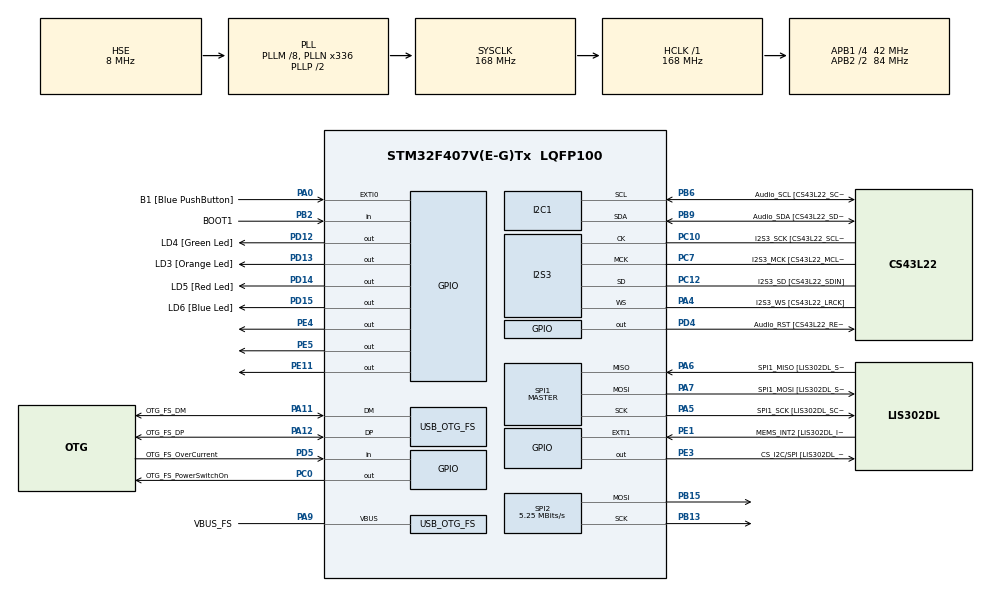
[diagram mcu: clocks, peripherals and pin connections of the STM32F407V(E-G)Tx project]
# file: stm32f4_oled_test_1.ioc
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I2S3.AudioFreq-Half_Duplex_Master=I2S_AUDIOFREQ_96K
I2S3.ErrorAudioFreq=-2.34 %
I2S3.ErrorAudioFreq-Half_Duplex_Master=0.8 %
I2S3.FullDuplexMode=I2S_FULLDUPLEXMODE_DISABLE
I2S3.Instance=SPI$Index
I2S3.RealAudioFreq=93.75 KHz
I2S3.RealAudioFreq-Half_Duplex_Master=96.774 KHz
I2S3.VirtualMode=I2S_MODE_MASTER
Mcu.Family=STM32F4
Mcu.Name=STM32F407V(E-G)Tx
Mcu.Package=LQFP100
NVIC.OTG_FS_IRQn=true\:0\:0\:false\:false\:true\:true\:true
NVIC.PriorityGroup=NVIC_PRIORITYGROUP_0
PA0-WKUP.GPIO_Label=B1 [Blue PushButton]
PA0-WKUP.GPIO_ModeDefaultEXTI=GPIO_MODE_EVT_RISING
PA0-WKUP.GPIO_PuPd=GPIO_NOPULL
PA0-WKUP.Signal=GPXTI0
PA10.GPIO_Label=OTG_FS_ID
PA10.GPIO_Mode=GPIO_MODE_AF_PP
PA10.GPIO_PuPd=GPIO_NOPULL
PA10.GPIO_Speed=GPIO_SPEED_FREQ_LOW
PA10.Signal=USB_OTG_FS_ID
PA11.GPIO_Label=OTG_FS_DM
PA11.GPIO_Mode=GPIO_MODE_AF_PP
PA11.GPIO_PuPd=GPIO_NOPULL
PA11.GPIO_Speed=GPIO_SPEED_FREQ_LOW
PA11.Mode=Host_Only
PA11.Signal=USB_OTG_FS_DM
PA12.GPIO_Label=OTG_FS_DP
PA12.GPIO_Mode=GPIO_MODE_AF_PP
PA12.GPIO_PuPd=GPIO_NOPULL
PA12.GPIO_Speed=GPIO_SPEED_FREQ_LOW
PA12.Mode=Host_Only
PA12.Signal=USB_OTG_FS_DP
PA13.GPIO_Label=SWDIO
PA13.Mode=Serial_Wire
PA13.Signal=SYS_JTMS-SWDIO
PA14.GPIO_Label=SWCLK
PA14.Mode=Serial_Wire
PA14.Signal=SYS_JTCK-SWCLK
PA4.GPIO_Label=I2S3_WS [CS43L22_LRCK]
PA4.GPIO_Mode=GPIO_MODE_AF_PP
PA4.GPIO_PuPd=GPIO_NOPULL
PA4.GPIO_Speed=GPIO_SPEED_FREQ_LOW
PA4.Mode=Half_Duplex_Master
PA4.Signal=I2S3_WS
PA5.GPIO_Label=SPI1_SCK [LIS302DL_SCL/SPC]
PA5.GPIO_Mode=GPIO_MODE_AF_PP
PA5.GPIO_PuPd=GPIO_NOPULL
PA5.GPIO_Speed=GPIO_SPEED_FREQ_LOW
PA5.Mode=Full_Duplex_Master
PA5.Signal=SPI1_SCK
PA6.GPIO_Label=SPI1_MISO [LIS302DL_SDO]
PA6.GPIO_Mode=GPIO_MODE_AF_PP
PA6.GPIO_PuPd=GPIO_NOPULL
PA6.GPIO_Speed=GPIO_SPEED_FREQ_LOW
PA6.Mode=Full_Duplex_Master
PA6.Signal=SPI1_MISO
PA7.GPIO_Label=SPI1_MOSI [LIS302DL_SDA/SDI/SDO]
PA7.GPIO_Mode=GPIO_MODE_AF_PP
PA7.GPIO_PuPd=GPIO_NOPULL
PA7.GPIO_Speed=GPIO_SPEED_FREQ_LOW
PA7.Mode=Full_Duplex_Master
PA7.Signal=SPI1_MOSI
PA9.GPIO_Label=VBUS_FS
PA9.GPIO_Mode=GPIO_MODE_INPUT
PA9.GPIO_PuPd=GPIO_NOPULL
PA9.Mode=Activate_VBUS
PA9.Signal=USB_OTG_FS_VBUS
PB10.GPIO_Label=CLK_IN [MP45DT02_CLK]
PB10.GPIO_Mode=GPIO_MODE_AF_PP
PB10.GPIO_PuPd=GPIO_NOPULL
PB10.GPIO_Speed=GPIO_SPEED_FREQ_LOW
PB10.Signal=I2S2_CK
PB13.Mode=TX_Only_Simplex_Unidirect_Master
PB13.Signal=SPI2_SCK
PB15.Mode=TX_Only_Simplex_Unidirect_Master
PB15.Signal=SPI2_MOSI
PB2.GPIO_Label=BOOT1
PB2.GPIO_Mode=GPIO_MODE_INPUT
PB2.GPIO_PuPd=GPIO_NOPULL
PB2.Signal=GPIO_Input
PB3.GPIO_Label=SWO
PB3.Signal=SYS_JTDO-SWO
PB6.GPIO_Label=Audio_SCL [CS43L22_SCL]
PB6.GPIO_Mode=GPIO_MODE_AF_OD
PB6.GPIO_PuPd=GPIO_NOPULL
PB6.GPIO_Speed=GPIO_SPEED_FREQ_LOW
PB6.Mode=I2C
PB6.Signal=I2C1_SCL
PB9.GPIO_Label=Audio_SDA [CS43L22_SDA]
PB9.GPIO_Mode=GPIO_MODE_AF_OD
PB9.GPIO_PuPd=GPIO_NOPULL
PB9.GPIO_Speed=GPIO_SPEED_FREQ_LOW
PB9.Mode=I2C
PB9.Signal=I2C1_SDA
PC0.GPIO_Label=OTG_FS_PowerSwitchOn
PC0.GPIO_PuPd=GPIO_NOPULL
PC0.GPIO_Speed=GPIO_SPEED_FREQ_LOW
PC0.PinState=GPIO_PIN_SET
PC0.Signal=GPIO_Output
PC10.GPIO_Label=I2S3_SCK [CS43L22_SCLK]
PC10.GPIO_Mode=GPIO_MODE_AF_PP
PC10.GPIO_PuPd=GPIO_NOPULL
PC10.GPIO_Speed=GPIO_SPEED_FREQ_LOW
PC10.Mode=Half_Duplex_Master
PC10.Signal=I2S3_CK
PC12.GPIO_Label=I2S3_SD [CS43L22_SDIN]
PC12.GPIO_Mode=GPIO_MODE_AF_PP
PC12.GPIO_PuPd=GPIO_NOPULL
PC12.GPIO_Speed=GPIO_SPEED_FREQ_LOW
PC12.Mode=Half_Duplex_Master
PC12.Signal=I2S3_SD
PC14-OSC32_IN.GPIO_Label=PC14-OSC32_IN
PC14-OSC32_IN.Mode=LSE-External-Oscillator
PC14-OSC32_IN.Signal=RCC_OSC32_IN
PC15-OSC32_OUT.GPIO_Label=PC15-OSC32_OUT
PC15-OSC32_OUT.Mode=LSE-External-Oscillator
PC15-OSC32_OUT.Signal=RCC_OSC32_OUT
PC3.GPIO_Label=PDM_OUT [MP45DT02_DOUT]
PC3.GPIO_Mode=GPIO_MODE_AF_PP
PC3.GPIO_PuPd=GPIO_NOPULL
PC3.GPIO_Speed=GPIO_SPEED_FREQ_LOW
PC3.Signal=I2S2_SD
PC7.GPIO_Label=I2S3_MCK [CS43L22_MCLK]
PC7.GPIO_Mode=GPIO_MODE_AF_PP
PC7.GPIO_PuPd=GPIO_NOPULL
PC7.GPIO_Speed=GPIO_SPEED_FREQ_LOW
PC7.Mode=Master_Clock_Activated
PC7.Signal=I2S3_MCK
PD12.GPIO_Label=LD4 [Green Led]
PD12.GPIO_PuPd=GPIO_NOPULL
PD12.GPIO_Speed=GPIO_SPEED_FREQ_LOW
PD12.Signal=GPIO_Output
PD13.GPIO_Label=LD3 [Orange Led]
PD13.GPIO_PuPd=GPIO_NOPULL
PD13.GPIO_Speed=GPIO_SPEED_FREQ_LOW
PD13.Signal=GPIO_Output
PD14.GPIO_Label=LD5 [Red Led]
PD14.GPIO_PuPd=GPIO_NOPULL
PD14.GPIO_Speed=GPIO_SPEED_FREQ_LOW
PD14.Signal=GPIO_Output
PD15.GPIO_Label=LD6 [Blue Led]
PD15.GPIO_PuPd=GPIO_NOPULL
PD15.GPIO_Speed=GPIO_SPEED_FREQ_LOW
PD15.Signal=GPIO_Output
PD4.GPIO_Label=Audio_RST [CS43L22_RESET]
PD4.GPIO_PuPd=GPIO_NOPULL
PD4.GPIO_Speed=GPIO_SPEED_FREQ_LOW
PD4.Signal=GPIO_Output
PD5.GPIO_Label=OTG_FS_OverCurrent
PD5.GPIO_Mode=GPIO_MODE_INPUT
PD5.GPIO_PuPd=GPIO_NOPULL
PD5.Signal=GPIO_Input
PE1.GPIO_Label=MEMS_INT2 [LIS302DL_INT2]
PE1.GPIO_ModeDefaultEXTI=GPIO_MODE_EVT_RISING
PE1.GPIO_PuPd=GPIO_NOPULL
PE1.Signal=GPXTI1
PE11.Signal=GPIO_Output
PE3.GPIO_Label=CS_I2C/SPI [LIS302DL_CS_I2C/SPI]
PE3.GPIO_PuPd=GPIO_NOPULL
PE3.GPIO_Speed=GPIO_SPEED_FREQ_LOW
PE3.Signal=GPIO_Output
PE4.Signal=GPIO_Output
PE5.Signal=GPIO_Output
PH0-OSC_IN.GPIO_Label=PH0-OSC_IN
PH0-OSC_IN.Mode=HSE-External-Oscillator
PH0-OSC_IN.Signal=RCC_OSC_IN
PH1-OSC_OUT.GPIO_Label=PH1-OSC_OUT
PH1-OSC_OUT.Mode=HSE-External-Oscillator
PH1-OSC_OUT.Signal=RCC_OSC_OUT
ProjectManager.HeapSize=0x200
ProjectManager.StackSize=0x400
ProjectManager.TargetToolchain=STM32CubeIDE
RCC.48MHZClocksFreq_Value=48000000
RCC.AHBFreq_Value=168000000
RCC.APB1CLKDivider=RCC_HCLK_DIV4
RCC.APB1Freq_Value=42000000
RCC.APB1TimFreq_Value=84000000
RCC.APB2CLKDivider=RCC_HCLK_DIV2
RCC.APB2Freq_Value=84000000
RCC.APB2TimFreq_Value=168000000
RCC.CortexFreq_Value=168000000
RCC.HCLKFreq_Value=168000000
RCC.HSE_VALUE=8000000
RCC.HSI_VALUE=16000000
RCC.PLLM=8
RCC.PLLN=336
RCC.PLLQ=7
RCC.SYSCLKFreq_VALUE=168000000
RCC.SYSCLKSource=RCC_SYSCLKSOURCE_PLLCLK
RCC.VCOOutputFreq_Value=336000000
SPI1.BaudRatePrescaler-Full_Duplex_Master=SPI_BAUDRATEPRESCALER_2
SPI1.CalculateBaudRate-Full_Duplex_Master=42.0 MBits/s
SPI1.Direction=SPI_DIRECTION_2LINES
SPI1.Mode=SPI_MODE_MASTER
SPI1.Mode-Full_Duplex_Master=SPI_MODE_MASTER
SPI1.VirtualType=VM_MASTER
SPI2.BaudRatePrescaler=SPI_BAUDRATEPRESCALER_8
SPI2.CalculateBaudRate=5.25 MBits/s
SPI2.Direction=SPI_DIRECTION_2LINES
SPI2.Mode=SPI_MODE_MASTER
SPI2.VirtualType=VM_MASTER
USB_HOST.BSP.number=1
USB_HOST.USBH_HandleTypeDef-CDC_FS=hUsbHostFS
USB_HOST.VirtualModeFS=Cdc
USB_HOST0.BSP.STBoard=false
USB_HOST0.BSP.api=Unknown
USB_HOST0.BSP.i2caddr=0
USB_HOST0.BSP.i2creg=0
USB_HOST0.BSP.instance=PC0
USB_HOST0.BSP.ip=GPIO
USB_HOST0.BSP.mode=Output
USB_HOST0.BSP.name=Drive_VBUS_FS
USB_HOST0.BSP.solution=PC0
USB_OTG_FS.VirtualMode=Host_Only
USB_OTG_FS.phy_itface=HCD_PHY_EMBEDDED
VP_USB_HOST_VS_USB_HOST_CDC_FS.Mode=CDC_FS
board=STM32F407G-DISC1

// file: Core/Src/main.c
/* USER CODE BEGIN Header */
/**
  ******************************************************************************
  * @file           : main.c
  * @brief          : Main program body
  ******************************************************************************
  * @attention
  *
  * <h2><center>&copy; Copyright (c) 2020 STMicroelectronics.
  * All rights reserved.</center></h2>
  *
  * This software component is licensed by ST under Ultimate Liberty license
  * SLA0044, the "License"; You may not use this file except in compliance with
  * the License. You may obtain a copy of the License at:
  *                             www.st.com/SLA0044
  *
  ******************************************************************************
  */
/* USER CODE END Header */

#include "main.h"
#include "i2c.h"
#include "i2s.h"
#include "spi.h"
#include "usb_host.h"
#include "gpio.h"

/* USER CODE BEGIN Includes */

#include "string.h"
#include "my_graphic_lib.h"
/* USER CODE END Includes */

/* USER CODE BEGIN PV */
//extern uint8_t letter[][5];
//extern uint8_t SSD1306_Buffer[];	//size of this is 128 * 8 bytes

/* USER CODE END PV */

void SystemClock_Config(void);
void MX_USB_HOST_Process(void);

int main(void)
{

  /* MCU Configuration--------------------------------------------------------*/

  /* Reset of all peripherals, Initializes the Flash interface and the Systick. */
   HAL_Init();

  /* Configure the system clock */
  SystemClock_Config();

  /* Initialize all configured peripherals */
  MX_GPIO_Init();
  MX_I2C1_Init();
  MX_I2S3_Init();
  MX_SPI1_Init();
  MX_USB_HOST_Init();

  MX_SPI2_Init();
  /* USER CODE BEGIN 2 */

  ssd1306_Init();	//initialize the oled display for 128 x 64 pixels

  memset(SSD1306_Buffer, 0x0, 128 * 8);	//clear the display buffer

  object_t square_obj;
  object_t square2_obj;

  square_obj.object_type = OBJECT_SQUARE;
  square_obj.square.x1 = 0;
  square_obj.square.y1 = 0;
  square_obj.square.x2 = 20;
  square_obj.square.y2 = 20;
  square_obj.square.fill = 0;

  square2_obj.object_type = OBJECT_SQUARE;
  square2_obj.square.x1 = 0;
  square2_obj.square.y1 = 64/2;
  square2_obj.square.x2 = 0 + 10;
  square2_obj.square.y2 = 64/2 + 10;
  square2_obj.square.fill = 0;

  object_t circle1_obj;
  object_t circle2_obj;

  circle1_obj.object_type = OBJECT_CIRCLE;
  circle1_obj.circle.x1 = 10;
  circle1_obj.circle.y1 = 10;
  circle1_obj.circle.radius = 5;
  circle1_obj.circle.fill = 0;

  circle2_obj.object_type = OBJECT_CIRCLE;
  circle2_obj.circle.x1 = 10;
  circle2_obj.circle.y1 = 20;
  circle2_obj.circle.radius = 15;
  circle2_obj.circle.fill = 0;

  object_init(&square_obj);
  object_init(&square2_obj);
  object_init(&circle1_obj);
  object_init(&circle2_obj);

  while(1)
  {
	  for(int i = 0; i < 64; i++) {
		  object_move(&square_obj, 1, 1);
		  object_move(&square2_obj, 1, 0);

		  object_move(&circle1_obj, 1, 1);
		  object_move(&circle2_obj, 1, 0);

		  HAL_Delay(100);
	  }

	  for(int i = 0; i < 64; i++) {
	  	   object_move(&square_obj, -1, -1);
	  	   object_move(&square2_obj, -1, 0);
	  	   object_move(&circle1_obj, -1, -1);
	  	   object_move(&circle2_obj, -1, 0);

	  		HAL_Delay(100);
	  }

  }

//  ssd1306_UpdateScreen();

  /* USER CODE END 2 */

  /* Infinite loop */
  while (1)
  {
    MX_USB_HOST_Process();

  }
}

void SystemClock_Config(void)
{
  RCC_OscInitTypeDef RCC_OscInitStruct = {0};
  RCC_ClkInitTypeDef RCC_ClkInitStruct = {0};
  RCC_PeriphCLKInitTypeDef PeriphClkInitStruct = {0};

  /** Configure the main internal regulator output voltage
  */
  __HAL_RCC_PWR_CLK_ENABLE();
  __HAL_PWR_VOLTAGESCALING_CONFIG(PWR_REGULATOR_VOLTAGE_SCALE1);
  /** Initializes the CPU, AHB and APB busses clocks
  */
  RCC_OscInitStruct.OscillatorType = RCC_OSCILLATORTYPE_HSE;
  RCC_OscInitStruct.HSEState = RCC_HSE_ON;
  RCC_OscInitStruct.PLL.PLLState = RCC_PLL_ON;
  RCC_OscInitStruct.PLL.PLLSource = RCC_PLLSOURCE_HSE;
  RCC_OscInitStruct.PLL.PLLM = 8;
  RCC_OscInitStruct.PLL.PLLN = 336;
  RCC_OscInitStruct.PLL.PLLP = RCC_PLLP_DIV2;
  RCC_OscInitStruct.PLL.PLLQ = 7;
  if (HAL_RCC_OscConfig(&RCC_OscInitStruct) != HAL_OK)
  {
    Error_Handler();
  }
  /** Initializes the CPU, AHB and APB busses clocks
  */
  RCC_ClkInitStruct.ClockType = RCC_CLOCKTYPE_HCLK|RCC_CLOCKTYPE_SYSCLK
                              |RCC_CLOCKTYPE_PCLK1|RCC_CLOCKTYPE_PCLK2;
  RCC_ClkInitStruct.SYSCLKSource = RCC_SYSCLKSOURCE_PLLCLK;
  RCC_ClkInitStruct.AHBCLKDivider = RCC_SYSCLK_DIV1;
  RCC_ClkInitStruct.APB1CLKDivider = RCC_HCLK_DIV4;
  RCC_ClkInitStruct.APB2CLKDivider = RCC_HCLK_DIV2;

  if (HAL_RCC_ClockConfig(&RCC_ClkInitStruct, FLASH_LATENCY_5) != HAL_OK)
  {
    Error_Handler();
  }
  PeriphClkInitStruct.PeriphClockSelection = RCC_PERIPHCLK_I2S;
  PeriphClkInitStruct.PLLI2S.PLLI2SN = 192;
  PeriphClkInitStruct.PLLI2S.PLLI2SR = 2;
  if (HAL_RCCEx_PeriphCLKConfig(&PeriphClkInitStruct) != HAL_OK)
  {
    Error_Handler();
  }
}

void Error_Handler(void)
{
}

/************************ (C) COPYRIGHT STMicroelectronics *****END OF FILE****/
